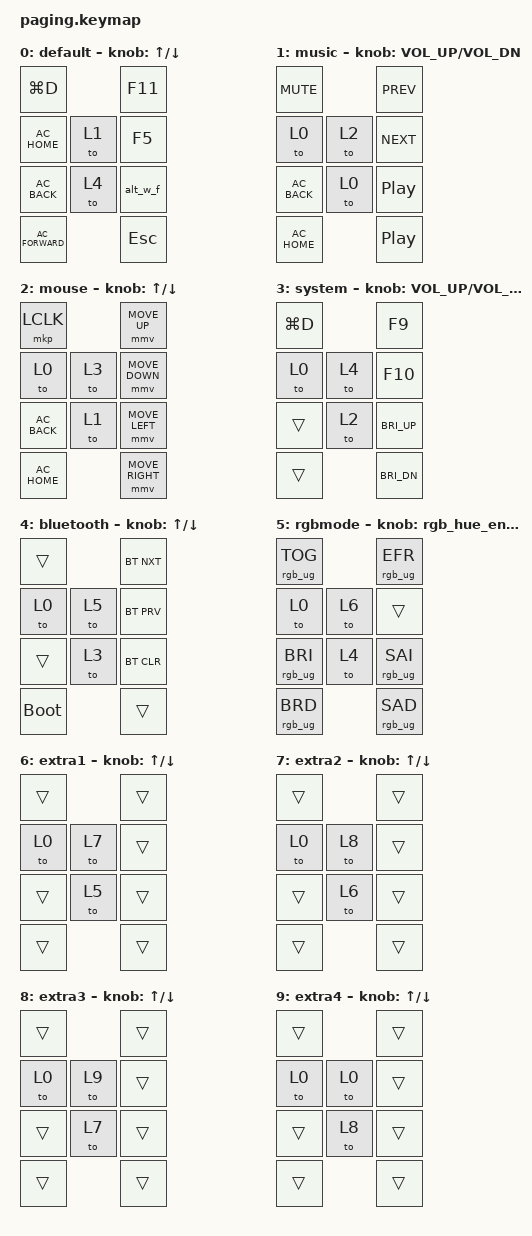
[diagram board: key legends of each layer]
#define ZMK_POINTING_DEFAULT_SCRL_VAL 100

#include <behaviors.dtsi>
#include <dt-bindings/zmk/bt.h>
#include <dt-bindings/zmk/keys.h>
#include <dt-bindings/zmk/rgb.h>
#include <dt-bindings/zmk/backlight.h>
#include <dt-bindings/zmk/pointing.h>
#include <input/processors.dtsi>
#include <zephyr/dt-bindings/input/input-event-codes.h>



/ {
    rgb_bri_encoder: rgb_bri_encoder {
        compatible = "zmk,behavior-sensor-rotate";
        #sensor-binding-cells = <0>;
        bindings = <&rgb_ug RGB_BRI>, <&rgb_ug RGB_BRD>;
    };
    rgb_hue_encoder: rgb_hue_encoder {
        compatible = "zmk,behavior-sensor-rotate";
        #sensor-binding-cells = <0>;
        bindings = <&rgb_ug RGB_HUI>, <&rgb_ug RGB_HUD>;
    };
    rgb_sat_encoder: rgb_sat_encoder {
        compatible = "zmk,behavior-sensor-rotate";
        #sensor-binding-cells = <0>;
        bindings = <&rgb_ug RGB_SAI>, <&rgb_ug RGB_SAD>;
    };

        macros {
            alt_w_f: alt_w_f {
                compatible = "zmk,behavior-macro";
                #binding-cells = <0>;
                wait-ms = <30>;
                tap-ms = <30>;
                bindings
                    = <&macro_press &kp LALT &kp W>  // 同时压下 Alt 和 W
                    , <&macro_tap &kp F>            // 点击 F
                    , <&macro_release &kp LALT &kp W>; // 释放 Alt 和 W
            };
        };
    
    keymap0: keymap {
        compatible = "zmk,keymap";

        default_layer {
            display-name = "default";
            bindings = <
                &kp LG(D)              &kp F11
                &kp C_AC_HOME  &to 1   &kp F5 
                &kp C_AC_BACK  &to 4   &alt_w_f
                &kp C_AC_FORWARD       &kp ESC        
            >; 
            sensor-bindings = <&inc_dec_kp UP_ARROW DOWN_ARROW>;
        };

        viedo1_layer {
            display-name = "music";       
            bindings = <
                &kp C_MUTE             &kp C_PREV
                &to 0          &to 2   &kp C_NEXT  
                &kp C_AC_BACK  &to 0   &kp C_PP
                &kp C_AC_HOME          &kp C_PP   
            >;
            sensor-bindings = <&inc_dec_kp C_VOL_UP C_VOL_DN>;
        };

        tri_layer {
            display-name = "mouse";
            bindings = <
                &mkp LCLK              &mmv MOVE_UP
                &to 0          &to 3   &mmv MOVE_DOWN  
                &kp C_AC_BACK  &to 1   &mmv MOVE_LEFT
                &kp C_AC_HOME          &mmv MOVE_RIGHT      
                
            >;
            sensor-bindings = <&inc_dec_kp UP_ARROW DOWN_ARROW>;
        };

        video2_layer {
            display-name = "system";       
            bindings = <
                &kp LG(D)          &kp F9
                &to 0      &to 4   &kp F10
                &trans     &to 2   &kp C_BRI_UP
                &trans             &kp C_BRI_DN     
            >;
            sensor-bindings = <&inc_dec_kp C_VOL_UP C_VOL_DN>;
        };

        extraone_layer {
            display-name = "bluetooth";
            bindings = <
                &trans            &bt BT_NXT
                &to 0     &to 5   &bt BT_PRV 
                &trans    &to 3   &bt BT_CLR
                &bootloader       &trans
            >;
            sensor-bindings = <&inc_dec_kp UP_ARROW DOWN_ARROW>;
        };

        extratwo_layer {
            display-name = "rgbmode";
            bindings = <
                &rgb_ug RGB_TOG          &rgb_ug RGB_EFR
                &to 0            &to 6   &trans
                &rgb_ug RGB_BRI  &to 4   &rgb_ug RGB_SAI
                &rgb_ug RGB_BRD          &rgb_ug RGB_SAD 
            >;
            sensor-bindings = <&rgb_hue_encoder>;
        };

        extrathree_layer {
            display-name = "extra1";
            bindings = <
                &trans          &trans
                &to 0   &to 7   &trans
                &trans  &to 5   &trans
                &trans          &trans
            >;
            sensor-bindings = <&inc_dec_kp UP_ARROW DOWN_ARROW>;
        };

        extrafour_layer {
            display-name = "extra2";
            bindings = <
                &trans          &trans
                &to 0   &to 8   &trans
                &trans  &to 6   &trans
                &trans          &trans
            >;
            sensor-bindings = <&inc_dec_kp UP_ARROW DOWN_ARROW>;
        };

        extrafive_layer {
            display-name = "extra3";
            bindings = <
                &trans          &trans
                &to 0   &to 9   &trans 
                &trans  &to 7   &trans
                &trans          &trans
            >;
            sensor-bindings = <&inc_dec_kp UP_ARROW DOWN_ARROW>;
        };

        extrasix_layer {
            display-name = "extra4";
            bindings = <
                &trans          &trans
                &to 0   &to 0   &trans 
                &trans  &to 8   &trans
                &trans          &trans
            >;
            sensor-bindings = <&inc_dec_kp UP_ARROW DOWN_ARROW>;
        };
    };
};
